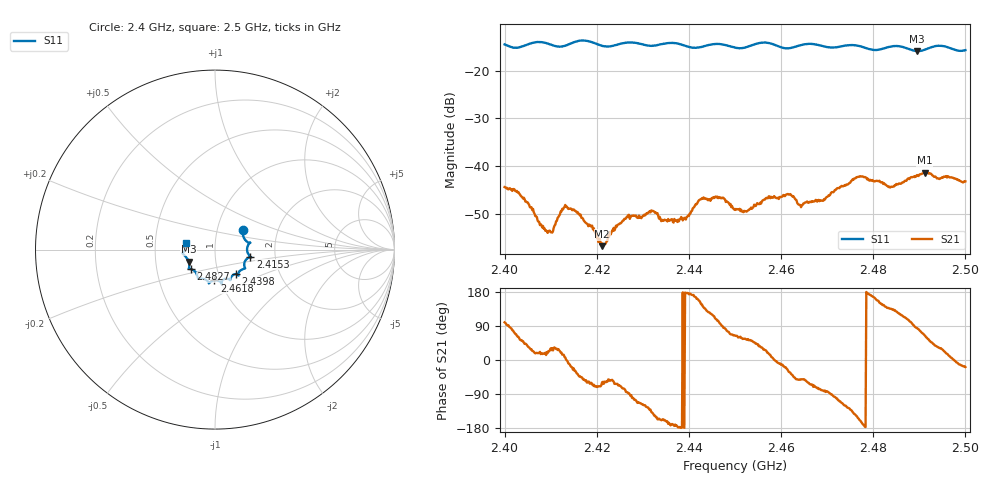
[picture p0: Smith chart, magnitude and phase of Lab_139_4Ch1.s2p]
# Hz S RI R 50
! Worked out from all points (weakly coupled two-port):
!   601 points, 2.4 GHz to 2.5 GHz, reference 50 ohm
!   highest |S21| = -41.42 dB at 2.4912 GHz (marker M1); lowest = -56.9 dB at 2.4212 GHz (marker M2)
!   lowest |S11| = -15.9 dB at 2.4895 GHz (marker M3), VSWR 1.38, Z = 37 - j5.03 ohm
!   |S11| at or under -10 dB: start of sweep to end of sweep
!   S12 and S22 are empty: the file has one direction only
!   S11 on the Smith chart (normalised r, x): 2.4 GHz: 1.33, +0.30; 2.4153 GHz: 1.48, -0.12; 2.4398 GHz: 1.21, -0.34; 2.4618 GHz: 0.94, -0.33; 2.4827 GHz: 0.75, -0.17; 2.5 GHz: 0.72, +0.06
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2.4e9  0.1551 0.1071  -0.000976 0.00591  0 0  0 0
2.403167e9  0.1661 0.0571  0.00277 0.00432  0 0  0 0
2.409333e9  0.1898 0.0328  0.00188 0.000618  0 0  0 0
2.413e9  0.1813 -0.0145  0.00367 0.000531  0 0  0 0
2.415333e9  0.197 -0.0394  0.00296 -0.00161  0 0  0 0
2.416667e9  0.2027 -0.0434  0.00201 -0.00202  0 0  0 0
2.421167e9  0.1739 -0.0554  0.000749 -0.00122  0 0  0 0
2.4265e9  0.1679 -0.1029  0.000261 -0.0029  0 0  0 0
2.433333e9  0.1297 -0.1339  -0.00273 -0.00118  0 0  0 0
2.439833e9  0.1155 -0.1359  -0.00301 0.000202  0 0  0 0
2.443e9  0.0889 -0.155  -0.00354 0.00278  0 0  0 0
2.447167e9  0.0836 -0.1694  3.85e-06 0.00457  0 0  0 0
2.45e9  0.0645 -0.1623  0.00148 0.00311  0 0  0 0
2.461833e9  -0.00338 -0.1721  0.00424 -0.00267  0 0  0 0
2.464167e9  -0.0288 -0.1824  0.00237 -0.00305  0 0  0 0
2.466667e9  -0.0342 -0.1876  0.00174 -0.00389  0 0  0 0
2.476833e9  -0.0967 -0.1544  -0.00696 -0.0033  0 0  0 0
2.482667e9  -0.135 -0.1085  -0.00491 0.00405  0 0  0 0
2.483333e9  -0.1401 -0.1083  -0.00442 0.00405  0 0  0 0
2.4895e9  -0.1461 -0.0663  0.000779 0.00797  0 0  0 0
2.491167e9  -0.1597 -0.0433  0.00359 0.00769  0 0  0 0
2.5e9  -0.1592 0.0393  0.00653 -0.0022  0 0  0 0
